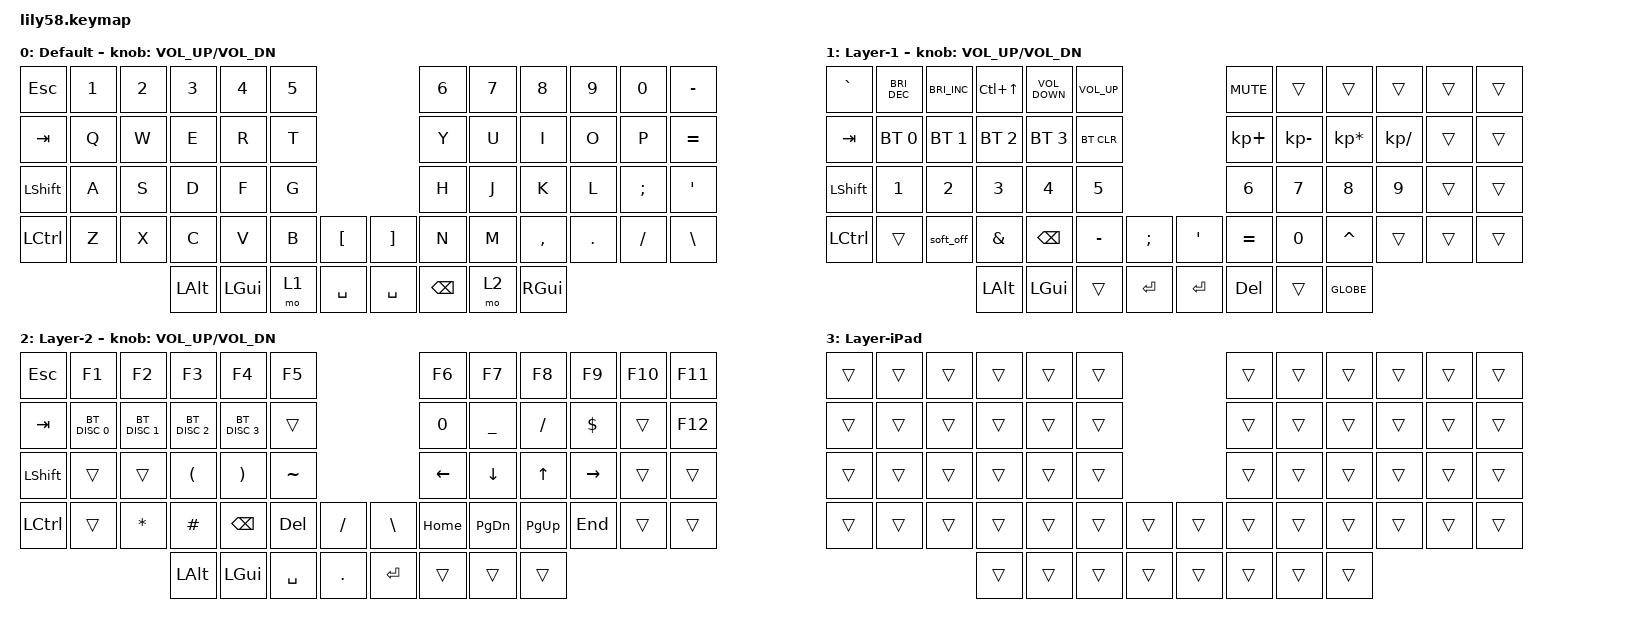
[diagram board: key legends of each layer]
/*
 * Copyright (c) 2020 The ZMK Contributors
 *
 * SPDX-License-Identifier: MIT
 */

#include <behaviors.dtsi>
#include <dt-bindings/zmk/bt.h>
#include <dt-bindings/zmk/keys.h>

&soft_off {
    hold-time-ms = <3000>; // Only turn off it the key is held for 5 seconds or longer.
};

&soft_off { /delete-property/ split-peripheral-off-on-press; };

/ {
    keymap {
        compatible = "zmk,keymap";

        Default {
            // ------------------------------------------------------------------------------------------------------------
            // |  ESC  |  1  |  2  |  3   |  4   |  5   |                   |  6   |  7    |  8    |  9   |   0   |   `   |
            // |  TAB  |  Q  |  W  |  E   |  R   |  T   |                   |  Y   |  U    |  I    |  O   |   P   |   -   |
            // |  CTRL |  A  |  S  |  D   |  F   |  G   |                   |  H   |  J    |  K    |  L   |   ;   |   '   |
            // | SHIFT |  Z  |  X  |  C   |  V   |  B   |   "["  |  |  "]"  |  N   |  M    |  ,    |  .   |   /   | SHIFT |
            //                     | ALT  | GUI  | LOWER|  ENTER |  | SPACE | RAISE| BSPC  | GUI   |

            bindings = <
&kp ESC           &kp N1  &kp N2  &kp N3    &kp N4    &kp N5                          &kp N6         &kp N7  &kp N8     &kp N9   &kp N0    &kp MINUS
&kp TAB           &kp Q   &kp W   &kp E     &kp R     &kp T                           &kp Y          &kp U   &kp I      &kp O    &kp P     &kp EQUAL
&kp LEFT_SHIFT    &kp A   &kp S   &kp D     &kp F     &kp G                           &kp H          &kp J   &kp K      &kp L    &kp SEMI  &kp SQT
&kp LEFT_CONTROL  &kp Z   &kp X   &kp C     &kp V     &kp B   &kp LBKT     &kp RBKT   &kp N          &kp M   &kp COMMA  &kp DOT  &kp FSLH  &kp BACKSLASH
                                  &kp LALT  &kp LGUI  &mo 1   &kp SPACE    &kp SPACE  &kp BACKSPACE  &mo 2   &kp RGUI
            >;

            sensor-bindings = <&inc_dec_kp C_VOL_UP C_VOL_DN>;
        };

        Layer-1 {
            // ------------------------------------------------------------------------------------------------------------
            // | BTCLR | BT1 | BT2 |  BT3 |  BT4 |  BT5 |                   |      |       |       |      |       |       |
            // |  F1   |  F2 |  F3 |  F4  |  F5  |  F6  |                   |  F7  |  F8   |  F9   |  F10 |  F11  |  F12  |
            // |   `   |  !  |  @  |  #   |  $   |  %   |                   |  ^   |  &    |  *    |  (   |   )   |   ~   |
            // |       |     |     |      |      |      |        |  |       |      |  _    |  +    |  {   |   }   |  "|"  |
            //                     |      |      |      |        |  |       |      |       |       |

            bindings = <
&kp GRAVE         &kp C_BRIGHTNESS_DEC  &kp C_BRIGHTNESS_INC  &kp LC(UP_ARROW)  &kp C_VOLUME_DOWN  &kp C_VOLUME_UP                          &kp K_MUTE    &trans        &trans           &trans         &trans  &trans
&kp TAB           &bt BT_SEL 0          &bt BT_SEL 1          &bt BT_SEL 2      &bt BT_SEL 3       &bt BT_CLR                               &kp KP_PLUS   &kp KP_MINUS  &kp KP_MULTIPLY  &kp KP_DIVIDE  &trans  &trans
&kp LEFT_SHIFT    &kp NUMBER_1          &kp NUMBER_2          &kp NUMBER_3      &kp NUMBER_4       &kp NUMBER_5                             &kp NUMBER_6  &kp N7        &kp NUMBER_8     &kp NUMBER_9   &trans  &trans
&kp LEFT_CONTROL  &trans                &soft_off             &kp AMPERSAND     &kp BACKSPACE      &kp MINUS        &kp SEMI     &kp SQT    &kp EQUAL     &kp N0        &kp CARET        &trans         &trans  &trans
                                                              &kp LEFT_ALT      &kp LGUI           &trans           &kp ENTER    &kp ENTER  &kp DELETE    &trans        &kp GLOBE
            >;

            sensor-bindings = <&inc_dec_kp C_VOL_UP C_VOL_DN>;
        };

        Layer-2 {
            // ------------------------------------------------------------------------------------------------------------
            // |       |     |     |      |      |      |                   |      |       |       |      |       |       |
            // |   `   |  1  |  2  |  3   |  4   |  5   |                   |  6   |   7   |   8   |  9   |   0   |       |
            // |   F1  |  F2 |  F3 |  F4  |  F5  |  F6  |                   |      |   <-  |   v   |  ^   |  ->   |       |
            // |   F7  |  F8 |  F9 |  F10 |  F11 |  F12 |        |  |       |  +   |   -   |   =   |  [   |   ]   |   \   |
            //                     |      |      |      |        |  |       |      |       |       |

            bindings = <
&kp ESCAPE        &kp F1         &kp F2         &kp F3                &kp F4                 &kp F5                                   &kp F6          &kp F7          &kp F8        &kp F9           &kp F10  &kp F11
&kp TAB           &bt BT_DISC 0  &bt BT_DISC 1  &bt BT_DISC 2         &bt BT_DISC 3          &trans                                   &kp N0          &kp UNDERSCORE  &kp SLASH     &kp DOLLAR       &trans   &kp F12
&kp LEFT_SHIFT    &trans         &trans         &kp LEFT_PARENTHESIS  &kp RIGHT_PARENTHESIS  &kp TILDE                                &kp LEFT_ARROW  &kp DOWN_ARROW  &kp UP_ARROW  &kp RIGHT_ARROW  &trans   &trans
&kp LEFT_CONTROL  &trans         &kp ASTERISK   &kp HASH              &kp BACKSPACE          &kp DELETE  &kp SLASH     &kp BACKSLASH  &kp HOME        &kp PAGE_DOWN   &kp PAGE_UP   &kp END          &trans   &trans
                                                &kp LEFT_ALT          &kp LEFT_GUI           &kp SPACE   &kp PERIOD    &kp ENTER      &trans          &trans          &trans
            >;

            sensor-bindings = <&inc_dec_kp C_VOL_UP C_VOL_DN>;
        };

        Layer-iPad {
            bindings = <
&trans  &trans  &trans  &trans  &trans  &trans                    &trans  &trans  &trans  &trans  &trans  &trans
&trans  &trans  &trans  &trans  &trans  &trans                    &trans  &trans  &trans  &trans  &trans  &trans
&trans  &trans  &trans  &trans  &trans  &trans                    &trans  &trans  &trans  &trans  &trans  &trans
&trans  &trans  &trans  &trans  &trans  &trans  &trans    &trans  &trans  &trans  &trans  &trans  &trans  &trans
                        &trans  &trans  &trans  &trans    &trans  &trans  &trans  &trans
            >;
        };
    };
};
